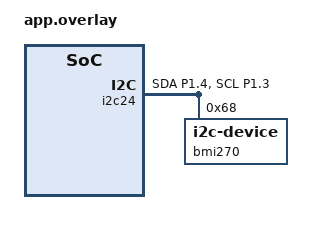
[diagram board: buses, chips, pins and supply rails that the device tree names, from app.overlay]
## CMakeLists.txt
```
# SPDX-License-Identifier: Apache-2.0

cmake_minimum_required(VERSION 3.20.0)

find_package(Zephyr REQUIRED HINTS $ENV{ZEPHYR_BASE})
project(bmi270_act_noflash)

target_sources(app PRIVATE 
               src/bmi2.c
               src/bmi270.c
               src/bmi270_context.c
               src/bmi270_init.c
               src/main.c
)
```

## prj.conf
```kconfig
CONFIG_I2C=y
CONFIG_GPIO=y
CONFIG_LOG=y
CONFIG_LOG_MODE_DEFERRED=n
```

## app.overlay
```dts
&pinctrl {
    i2c24_default: i2c24_default {
        group1 {
            psels = <NRF_PSEL(TWIM_SDA, 1, 4)>,
                    <NRF_PSEL(TWIM_SCL, 1, 3)>;
        };
    };
};

&i2c24 {
    status = "okay";
    pinctrl-0 = <&i2c24_default>;
    pinctrl-names = "default";

    bmi270: bmi270@68 {
        compatible = "i2c-device";
        reg = <0x68>;
    };
};

&gpio3 {
    status = "okay";
};
```

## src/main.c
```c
#include <zephyr/kernel.h>
#include <zephyr/device.h>
#include <zephyr/drivers/i2c.h>
#include <zephyr/drivers/gpio.h>
#include <zephyr/logging/log.h>

#include "bmi2.h"
#include "bmi270_context.h"
#include "bmi2_defs.h"
#include "bmi270_init.h"

LOG_MODULE_REGISTER(MAIN_APP, LOG_LEVEL_INF);

#define FIFO_BUF_SIZE 256 // Ham bmi2_i2c_read chi doc duoc toi da 256 byte (trong ds bo FIFO co toi da 2048 byte)

int main(void)
{
	static uint8_t fifo_buffer[FIFO_BUF_SIZE];
	static struct bmi2_fifo_frame fifo = {0};

	if (init_all_systems() != 0)
	{
		LOG_INF("\nLoi khoi tao he thong\n");
		return 0;
	}
	LOG_INF("Khoi tao BMI270 thanh cong!\n");
	while (1)
	{
		if (k_sem_take(&ai_sync_sem, K_FOREVER) == 0)
		{
			uint16_t fifo_length = 0;
			int8_t rslt;
			rslt = bmi2_get_fifo_length(&fifo_length, &bmi270_dev);

			// Get fifo length check
			if (rslt != BMI2_OK)
			{
				LOG_INF("Get fifo length error: %d\n", rslt);
				continue;
			}

			fifo.length = (fifo_length > sizeof(fifo_buffer)) ? sizeof(fifo_buffer) : fifo_length; // Doc toi da 256 byte
			fifo.data = fifo_buffer;
			fifo.acc_byte_start_idx = 0;	   // Index accelerometer bytes
			fifo.act_recog_byte_start_idx = 0; // Index activity output bytes

			// Doc data trong bo fifo
			rslt = bmi2_read_fifo_data(&fifo, &bmi270_dev);

			// Read fifo data check
			if (rslt != BMI2_OK)
			{
				LOG_INF("FIFO read error: %d\n", rslt);
				continue;
			}

			struct bmi2_act_recog_output act_out[1] = {0};
			uint16_t act_count = 1;

			// Doc du lieu AI trong bo FIFO
			rslt = bmi270_context_get_act_recog_output(act_out, &act_count, &fifo, &bmi270_dev);

			// Debug
			// printk("fifo=%d rslt=%d act_count=%d\n", fifo_length, rslt, act_count);

			// Chi cap nhat trang thai khi doc duoc fifo hoac 1 phan cua no
			// rslt: BMI2_OK || BMI2_W_FIFO_EMPTY || BMI2_W_PARTIAL_READ || BMI2_W_DUMMY_BYTE
			if ((rslt >= 0) && (act_count > 0))
			{
				for (uint16_t i = 0; i < act_count; i++)
				{
					// Lay trang thai moi nhat ma cam bien doc duoc
					uint8_t current_state = act_out[i].curr_act; 

					switch (current_state)
					{
						case BMI2_ACT_UNKNOWN:
							LOG_INF("State: UNKNOWN\n");
							break;							
						case BMI2_ACT_STILL:
							LOG_INF("State: STILL\n");
							break;							
						case BMI2_ACT_WALK:
							LOG_INF("State: WALK\n");
							break;							
						case BMI2_ACT_RUN:
							LOG_INF("State: RUN\n");
							break;
						case BMI2_ACT_BIKE:
						    LOG_INF("State: BIKE\n");
							break;
						case BMI2_ACT_VEHICLE:
							LOG_INF("State: VEHICLE\n");
							break;
					}
				}
			}
		}
	}
}
```

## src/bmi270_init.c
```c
#include <zephyr/device.h>
#include <zephyr/drivers/i2c.h>
#include <zephyr/sys/printk.h>
#include <zephyr/drivers/gpio.h>
#include <zephyr/kernel.h>

#include <stdio.h>
#include <string.h>
#include <stdarg.h>

#include "bmi270_init.h"

#define BMI270_NODE DT_NODELABEL(bmi270) // I2C addr: 0x68
static const struct i2c_dt_spec bmi270_i2c = I2C_DT_SPEC_GET(BMI270_NODE);

// ACCE_INT2 Pin: P3.09
#define INT2_NODE DT_NODELABEL(gpio3)
#define INT2_PIN 9

// Dinh nghia Semaphore
K_SEM_DEFINE(ai_sync_sem, 0, 1); // Khoi tao co, mac dinh = 0

// Ham ngat cho chan P3.09
static struct gpio_callback bmi2_int_cb_data;

// Khoi tao bien toan cuc cho BMI270
struct bmi2_dev bmi270_dev;

// Sensor power on
static void hardware_early_init(void)
{
    const struct device *gpio3_dev = DEVICE_DT_GET(DT_NODELABEL(gpio3));
    if (device_is_ready(gpio3_dev))
    {
        gpio_pin_configure(gpio3_dev, 11, GPIO_OUTPUT | GPIO_OUTPUT_INIT_HIGH);
    }
}

// Ham doc I2C theo chuan API cua BOSCH
static int8_t bmi2_i2c_read(uint8_t reg_addr, uint8_t *reg_data, uint32_t len, void *intf_ptr)
{
    static uint8_t safe_rx_buf[256] __attribute__((aligned(4)));
    if (len > sizeof(safe_rx_buf))
        return -2;

    int err = i2c_burst_read_dt((const struct i2c_dt_spec *)intf_ptr, reg_addr, safe_rx_buf, len);
    if (err == 0)
    {
        memcpy(reg_data, safe_rx_buf, len);
        return 0;
    }
    return -2;
}

// Ham ghi I2C theo chuan API cua BOSCH
static int8_t bmi2_i2c_write(uint8_t reg_addr, const uint8_t *reg_data, uint32_t len, void *intf_ptr)
{
    uint8_t tx_buf[256];
    if (len >= sizeof(tx_buf))
        return -2;

    tx_buf[0] = reg_addr;
    memcpy(&tx_buf[1], reg_data, len);

    int err = i2c_write_dt((const struct i2c_dt_spec *)intf_ptr, tx_buf, len + 1);
    return err ? -2 : 0;
}

static void bmi2_delay_us(uint32_t period, void *intf_ptr)
{
    k_busy_wait(period);
}

// Co ngat
static void bmi2_int2_isr(const struct device *dev, struct gpio_callback *cb, uint32_t pins)
{
    k_sem_give(&ai_sync_sem);
}

// Khoi tao chan INT2 (P3.09)
void init_bmi2_interrupt(void)
{
    // Chan P3.09
    const struct device *gpio3_dev = DEVICE_DT_GET(DT_NODELABEL(gpio3));
    gpio_pin_configure(gpio3_dev, 9, GPIO_INPUT);

    // Bat canh xuong
    gpio_pin_interrupt_configure(gpio3_dev, 9, GPIO_INT_EDGE_FALLING);

    // Call back
    gpio_init_callback(&bmi2_int_cb_data, bmi2_int2_isr, BIT(INT2_PIN));
    gpio_add_callback(gpio3_dev, &bmi2_int_cb_data);
}

bool bmi270_self_test_int2(void)
{
    uint8_t state_high_int2, state_low_int2;

    // ACCE_INT2 Check
    const struct device *gpio_int2_dev = DEVICE_DT_GET(INT2_NODE);
    if (!device_is_ready(gpio_int2_dev))
    {
        printk("Port GPIO cho INT2 chua san sang!\n");
        return false;
    }

    // Cau hinh chan P1.23 la Input
    gpio_pin_configure(gpio_int2_dev, INT2_PIN, GPIO_INPUT);

    // Khoi tao bo khuon cau hinh chan ngat BMI270
    struct bmi2_int_pin_config int_cfg = {0};
    int_cfg.pin_type = BMI2_INT2;
    int_cfg.int_latch = BMI2_INT_NON_LATCH;
    int_cfg.pin_cfg[1].od = BMI2_INT_PUSH_PULL;
    int_cfg.pin_cfg[1].output_en = BMI2_INT_OUTPUT_ENABLE;
    int_cfg.pin_cfg[1].input_en = BMI2_INT_INPUT_DISABLE;

    // Ep cam bien xuat muc HIGH ra chan INT2
    int_cfg.pin_cfg[1].lvl = BMI2_INT_ACTIVE_LOW;
    bmi2_set_int_pin_config(&int_cfg, &bmi270_dev);
    k_msleep(50); // Cho dien ap on dinh
    state_high_int2 = gpio_pin_get(gpio_int2_dev, INT2_PIN);

    // Ep cam bien xuat muc Low ra chan INT2
    int_cfg.pin_cfg[1].lvl = BMI2_INT_ACTIVE_HIGH;
    bmi2_set_int_pin_config(&int_cfg, &bmi270_dev);
    k_msleep(50); // Cho dien ap on dinh
    state_low_int2 = gpio_pin_get(gpio_int2_dev, INT2_PIN);

    if (state_high_int2 != 1 || state_low_int2 != 0)
    {
        printk("\nDay ngat INT2 loi\n");

        // In ket qua va Danh gia
        printk("INT2 HIGH: %d\n", state_high_int2);
        printk("INT2 LOW:  %d\n", state_low_int2);
        return false;
    }
    printk("Chan ngat ACCE_INT2 cua BMI270 OK!\n");
    return true;
}

// Ham khoi tao tat ca
int init_all_systems(void)
{
    int8_t rslt; // Bien kiem tra ket qua tra ve theo API cua BOSCH

    // Bat nguon cho sensor
    hardware_early_init();

    // Kiem tra I2C
    if (!i2c_is_ready_dt(&bmi270_i2c))
    {
        printk("Bus I2C hoac thiet bi chua san sang!\n");
        return -1;
    }

    // Map thu vien Bosch vao I2C
    bmi270_dev.intf = BMI2_I2C_INTF; // Chi dung I2C
    bmi270_dev.intf_ptr = (void *)&bmi270_i2c;
    bmi270_dev.read = bmi2_i2c_read; // 2 ham giao tiep voi phan cung
    bmi270_dev.write = bmi2_i2c_write;
    bmi270_dev.delay_us = bmi2_delay_us; // doi 2ms (Power on time)
    bmi270_dev.read_write_len = 64;      // Moi lan doc toi da 64 bytes
    bmi270_dev.config_file_ptr = NULL;

    // Khoi tao BMI270
    rslt = bmi270_context_init(&bmi270_dev);
    if (rslt != BMI2_OK)
    {
        printk("\nBMI270 Device ID Mismatch, Error: %d\n", rslt);
        return rslt;
    }

    // Tat che do tiet kiem dien cua sensor
    bmi2_set_adv_power_save(BMI2_DISABLE, &bmi270_dev);

    bmi270_self_test_int2();

    // Cau hinh FIFO
    uint16_t fifo_config = BMI2_FIFO_HEADER_EN | BMI2_FIFO_ACC_EN;

    // FIFO config check
    rslt = bmi2_set_fifo_config(fifo_config, BMI2_ENABLE, &bmi270_dev);
    if (rslt != BMI2_OK)
    {
        printk("FIFO config fail: %d\n", rslt);
        return rslt;
    }

    // Cau hinh gia toc ke (Accel)
    struct bmi2_sens_config acc_config = {0};
    acc_config.type = BMI2_ACCEL;                        // Feature type (A only)
    bmi2_get_sensor_config(&acc_config, 1, &bmi270_dev); // Get sensor config
    acc_config.cfg.acc.odr = BMI2_ACC_ODR_50HZ;          // Tan so lay mau 50Hz
    acc_config.cfg.acc.range = BMI2_ACC_RANGE_4G;        // Thang do 4g
    acc_config.cfg.acc.bwp = BMI2_ACC_NORMAL_AVG4;       // Bo loc AVG4 (Lay trung binh 4 mau de lam min data)
    acc_config.cfg.acc.filter_perf = BMI2_PERF_OPT_MODE; // Che do toi uu hieu suat

    // set sensor config and check
    rslt = bmi2_set_sensor_config(&acc_config, 1, &bmi270_dev);
    if (rslt != BMI2_OK)
    {
        printk("bmi2_set_sensor_config fail: %d\n", rslt);
        return rslt;
    }

    // Cau hinh bo loc AI (Context Settings)
    struct bmi2_act_recg_sett ai_sett = {0};

    // Check doc cau hinh AI va set cau hinh AI
    rslt = bmi270_context_get_act_recg_sett(&ai_sett, &bmi270_dev);
    if (rslt == BMI2_OK)
    {
        /*
         *! Tat ca cau hinh deu la default, neu trong qua trinh test cam thay bat on thi sua
         */
        ai_sett.pp_en = 1;     // Bat hau xu ly (post processing)
        ai_sett.buf_size = 10; // Buffer size for post processing of the activity detected by the classifier

        /*! Minimum segments classified with moderate confidence as belonging
         *  to a certain activity type to be added to activity buffer.
         */
        ai_sett.min_seg_conf = 10;

        // Nguong GDI: nguong nay chi ra do da dang cua du lieu trong bo FIFO
        // GDI cang cao thi dau vao cang da dang -> AI cang kho nhan dien
        ai_sett.min_gdi_thres = 1761;
        ai_sett.min_gdi_thres = 2662;

        // Check nap cau hinh AI
        rslt = bmi270_context_set_act_recg_sett(&ai_sett, &bmi270_dev);
        if (rslt != BMI2_OK)
        {
            printk("\nKhong the nap cau hinh AI. Ma loi: %d\n", rslt);
            return rslt;
        }
    }
    else
    {
        printk("\nKhong the doc cau hinh AI. Ma loi: %d\n", rslt);
        return rslt;
    }

    // Cau hinh chan INT2
    struct bmi2_int_pin_config int_cfg = {0};
    int_cfg.pin_type = BMI2_INT2;                          // Chan INT2
    int_cfg.int_latch = BMI2_INT_NON_LATCH;                // Tu dong xoa ngat
    int_cfg.pin_cfg[1].lvl = BMI2_INT_ACTIVE_LOW;          // Keo xuong muc thap khi co ngat
    int_cfg.pin_cfg[1].od = BMI2_INT_PUSH_PULL;            // Che do pp
    int_cfg.pin_cfg[1].output_en = BMI2_INT_OUTPUT_ENABLE; // Bat dau ra cho chan ngat

    // Check cau hinh chan INT2
    rslt = bmi2_set_int_pin_config(&int_cfg, &bmi270_dev);
    if (rslt != BMI2_OK)
    {
        printk("bmi2_set_int_pin_config fail: %d\n", rslt);
        return rslt;
    }

    // Cai nguong Watermark = 252, co tren 252 byte trong bo fifo la nay ngat
    rslt = bmi2_set_fifo_wm(252, &bmi270_dev);
    if (rslt != BMI2_OK)
    {
        printk("Loi cai dat FIFO Watermark: %d\n", rslt);
        return rslt;
    }

    // Map ngat FWM ra chan INT2
    rslt = bmi2_map_data_int(BMI2_FWM_INT, BMI2_INT2, &bmi270_dev);
    if (rslt != BMI2_OK)
    {
        printk("Loi map ngat FIFO Watermark ra INT2! Ma loi: %d\n", rslt);
        return rslt;
    }

    // Kich hoat phan cung ACCE, AI
    uint8_t sens_list[2] = {BMI2_ACCEL, BMI2_ACTIVITY_RECOGNITION}; // A only + nhan dien chuyen dong

    // Check xem config thanh cong khong
    rslt = bmi270_context_sensor_enable(sens_list, 2, &bmi270_dev);
    if (rslt != BMI2_OK)
    {
        printk("\nLoi bat tinh nang detect chuyen dong. Ma loi: %d\n", rslt);
        return rslt;
    }

    // Goi ham khoi tao chan ngat
    init_bmi2_interrupt();
    return 0;
}
```

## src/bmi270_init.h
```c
#ifndef INIT_H
#define INIT_H

#include <zephyr/kernel.h>
#include <stdint.h>
#include "bmi2.h"
#include "bmi270.h"
#include "bmi270_context.h"
#include "bmi2_defs.h"

// Bien toan cuc
extern struct bmi2_dev bmi270_dev;
extern struct bmi2_fifo_frame fifo;
extern struct k_sem ai_sync_sem;

// Ham khoi tao tat ca
int init_all_systems(void);

#endif /* INIT_H */
```
